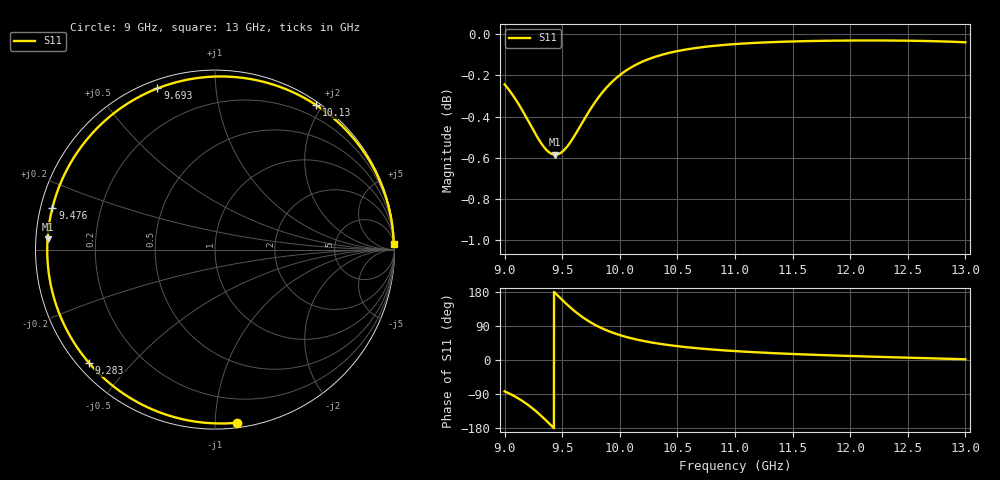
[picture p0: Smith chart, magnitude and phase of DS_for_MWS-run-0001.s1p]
! TOUCHSTONE file generated by CST DESIGN STUDIO
! Date and time: Tue Feb  4 12:53:47 2025
! Project name: C:\Work\MatlabApps\UnitCellOptimizationMatlab\CST\unitcell.cst
! Tree item: Tasks\Sweep1\SPara1\S-Parameters
! Header version: 2024
! Port assignment regex: !\s*Touchstone port\s*([0-9]+)\s*=\s*(CST MWS port|CST DES external port|CST DES block port)\s*(.+)\s* \(\"(.*)\"\)(\s*mode\s*([0-9]+))?.*
! Touchstone port assignment:
! Touchstone port 1 = CST DES external port 1 ("")
# GHz S MA R 50
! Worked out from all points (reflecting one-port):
!   4001 points, 9 GHz to 13 GHz, reference 50 ohm
!   lowest |S11| = -0.6 dB at 9.44 GHz (marker M1), VSWR 29.69, Z = 1.69 + j1.53 ohm
!   phase of S11 starts at -83 deg and turns -275 deg over the sweep
!   S11 on the Smith chart (normalised r, x): 9 GHz: 0.03, -1.14; 9.283 GHz: 0.03, -0.38; 9.476 GHz: 0.03, +0.13; 9.693 GHz: 0.04, +0.70; 10.13 GHz: 0.04, +1.92; 13 GHz: 8, +59
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9  0.9723 -82.7
9.086  0.9651 -95.6
9.157  0.9579 -108.7
9.222  0.9508 -122.8
9.283  0.9441 -138.0
9.328  0.9399 -150.3
9.367  0.9371 -161.6
9.404  0.9354 -172.6
9.44  0.9348 176.5
9.476  0.9354 165.6
9.5  0.9363 158.5
9.549  0.9395 144.5
9.596  0.9437 132.0
9.643  0.9485 120.6
9.693  0.9537 109.6
9.763  0.9606 96.4
9.845  0.9677 83.7
9.92  0.9729 74.1
10  0.9774 65.8
10.13  0.9827 55.1
10.297  0.9872 45.1
10.5  0.9906 36.5
10.723  0.9928 29.6
11  0.9945 23.5
11.5  0.996 15.9
12  0.9965 10.5
12.5  0.9964 6.1
13  0.9955 1.9
